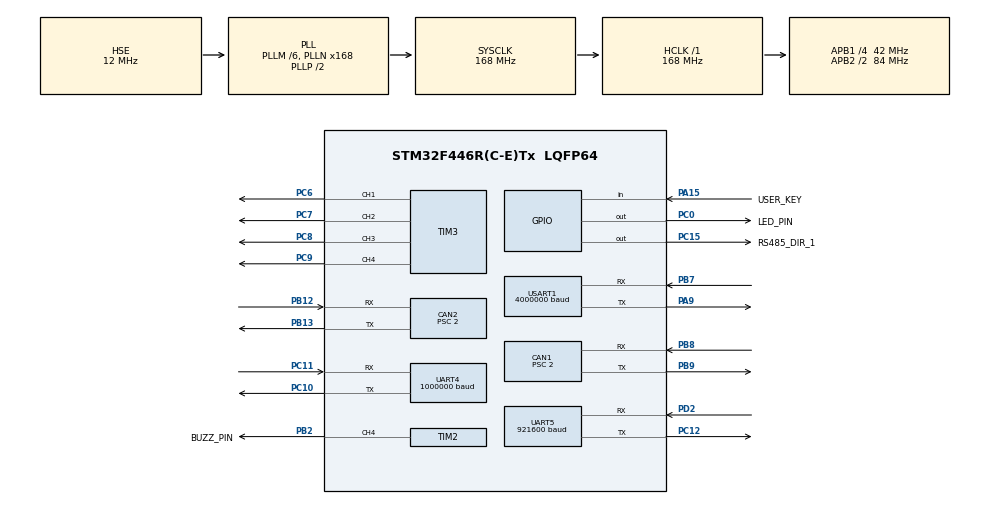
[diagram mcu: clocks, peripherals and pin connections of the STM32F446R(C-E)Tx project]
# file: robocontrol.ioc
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CAN1.BS1=CAN_BS1_15TQ
CAN1.BS2=CAN_BS2_5TQ
CAN1.CalculateBaudRate=1000000
CAN1.CalculateTimeBit=1000
CAN1.CalculateTimeQuantum=47.61904761904762
CAN1.Prescaler=2
CAN2.BS1=CAN_BS1_15TQ
CAN2.BS2=CAN_BS2_5TQ
CAN2.CalculateBaudRate=1000000
CAN2.CalculateTimeBit=1000
CAN2.CalculateTimeQuantum=47.61904761904762
CAN2.Prescaler=2
Dma.Request0=UART4_TX
Dma.Request1=UART5_RX
Dma.UART4_TX.0.Direction=DMA_MEMORY_TO_PERIPH
Dma.UART4_TX.0.FIFOMode=DMA_FIFOMODE_DISABLE
Dma.UART4_TX.0.Instance=DMA1_Stream4
Dma.UART4_TX.0.MemDataAlignment=DMA_MDATAALIGN_BYTE
Dma.UART4_TX.0.MemInc=DMA_MINC_ENABLE
Dma.UART4_TX.0.Mode=DMA_NORMAL
Dma.UART4_TX.0.PeriphDataAlignment=DMA_PDATAALIGN_BYTE
Dma.UART4_TX.0.PeriphInc=DMA_PINC_DISABLE
Dma.UART4_TX.0.Priority=DMA_PRIORITY_LOW
Dma.UART5_RX.1.Direction=DMA_PERIPH_TO_MEMORY
Dma.UART5_RX.1.FIFOMode=DMA_FIFOMODE_DISABLE
Dma.UART5_RX.1.Instance=DMA1_Stream0
Dma.UART5_RX.1.MemDataAlignment=DMA_MDATAALIGN_BYTE
Dma.UART5_RX.1.MemInc=DMA_MINC_ENABLE
Dma.UART5_RX.1.Mode=DMA_NORMAL
Dma.UART5_RX.1.PeriphDataAlignment=DMA_PDATAALIGN_BYTE
Dma.UART5_RX.1.PeriphInc=DMA_PINC_DISABLE
Dma.UART5_RX.1.Priority=DMA_PRIORITY_LOW
FREERTOS.Tasks01=defaultTask,24,128,StartDefaultTask,Default,NULL,Dynamic,NULL,NULL;canRxTask,40,1024,CAN_Rx_Task,As weak,NULL,Dynamic,NULL,NULL;robotTask,41,1024,robot_loop,As weak,NULL,Dynamic,NULL,NULL
FREERTOS.configENABLE_FPU=1
Mcu.Family=STM32F4
Mcu.Name=STM32F446R(C-E)Tx
Mcu.Package=LQFP64
NVIC.CAN1_RX0_IRQn=true\:5\:0\:false\:false\:true\:true\:true\:true\:true
NVIC.CAN2_RX0_IRQn=true\:5\:0\:false\:false\:true\:true\:true\:true\:true
NVIC.DMA1_Stream0_IRQn=true\:5\:0\:false\:false\:true\:true\:false\:true\:true
NVIC.DMA1_Stream4_IRQn=true\:5\:0\:false\:false\:true\:true\:false\:true\:true
NVIC.PriorityGroup=NVIC_PRIORITYGROUP_4
NVIC.TIM8_TRG_COM_TIM14_IRQn=true\:15\:0\:false\:false\:true\:false\:false\:true\:true
NVIC.TIM8_UP_TIM13_IRQn=true\:5\:0\:false\:false\:false\:true\:true\:true\:true
NVIC.TimeBase=TIM8_TRG_COM_TIM14_IRQn
NVIC.TimeBaseIP=TIM14
NVIC.UART4_IRQn=true\:5\:0\:false\:false\:true\:true\:true\:true\:true
NVIC.UART5_IRQn=true\:5\:0\:false\:false\:true\:true\:true\:true\:true
NVIC.USART1_IRQn=true\:5\:0\:false\:false\:true\:true\:true\:true\:true
PA13.Mode=Serial_Wire
PA13.Signal=SYS_JTMS-SWDIO
PA14.Mode=Serial_Wire
PA14.Signal=SYS_JTCK-SWCLK
PA15.GPIO_Label=USER_KEY
PA15.Signal=GPIO_Input
PA9.Mode=Asynchronous
PA9.Signal=USART1_TX
PB12.Mode=CAN_Activate
PB12.Signal=CAN2_RX
PB13.Mode=CAN_Activate
PB13.Signal=CAN2_TX
PB2.GPIO_Label=BUZZ_PIN
PB2.Signal=S_TIM2_CH4
PB7.Mode=Asynchronous
PB7.Signal=USART1_RX
PB8.Mode=CAN_Activate
PB8.Signal=CAN1_RX
PB9.Mode=CAN_Activate
PB9.Signal=CAN1_TX
PC0.GPIO_Label=LED_PIN
PC0.Signal=GPIO_Output
PC10.Mode=Asynchronous
PC10.Signal=UART4_TX
PC11.Mode=Asynchronous
PC11.Signal=UART4_RX
PC12.Mode=Asynchronous
PC12.Signal=UART5_TX
PC15-OSC32_OUT.GPIO_Label=RS485_DIR_1
PC15-OSC32_OUT.PinState=GPIO_PIN_SET
PC15-OSC32_OUT.Signal=GPIO_Output
PC6.Signal=S_TIM3_CH1
PC7.Signal=S_TIM3_CH2
PC8.Signal=S_TIM3_CH3
PC9.Signal=S_TIM3_CH4
PD2.Mode=Asynchronous
PD2.Signal=UART5_RX
PH0-OSC_IN.Mode=HSE-External-Oscillator
PH0-OSC_IN.Signal=RCC_OSC_IN
PH1-OSC_OUT.Mode=HSE-External-Oscillator
PH1-OSC_OUT.Signal=RCC_OSC_OUT
ProjectManager.HeapSize=0x400
ProjectManager.StackSize=0x800
ProjectManager.TargetToolchain=MDK-ARM V5.32
RCC.AHBFreq_Value=168000000
RCC.APB1CLKDivider=RCC_HCLK_DIV4
RCC.APB1Freq_Value=42000000
RCC.APB1TimFreq_Value=84000000
RCC.APB2CLKDivider=RCC_HCLK_DIV2
RCC.APB2Freq_Value=84000000
RCC.APB2TimFreq_Value=168000000
RCC.CortexFreq_Value=168000000
RCC.HCLKFreq_Value=168000000
RCC.HSE_VALUE=12000000
RCC.PLLM=6
RCC.PLLN=168
RCC.PLLQ=7
RCC.PLLSourceVirtual=RCC_PLLSOURCE_HSE
RCC.SYSCLKFreq_VALUE=168000000
RCC.SYSCLKSource=RCC_SYSCLKSOURCE_PLLCLK
RCC.USBFreq_Value=48000000
RCC.VCOOutputFreq_Value=336000000
SH.S_TIM2_CH4.0=TIM2_CH4,PWM Generation4 CH4
SH.S_TIM3_CH1.0=TIM3_CH1,PWM Generation1 CH1
SH.S_TIM3_CH2.0=TIM3_CH2,PWM Generation2 CH2
SH.S_TIM3_CH3.0=TIM3_CH3,PWM Generation3 CH3
SH.S_TIM3_CH4.0=TIM3_CH4,PWM Generation4 CH4
TIM13.AutoReloadPreload=TIM_AUTORELOAD_PRELOAD_ENABLE
TIM13.Prescaler=83
TIM2.Channel-PWM\ Generation4\ CH4=TIM_CHANNEL_4
TIM3.Channel-PWM\ Generation1\ CH1=TIM_CHANNEL_1
TIM3.Channel-PWM\ Generation2\ CH2=TIM_CHANNEL_2
TIM3.Channel-PWM\ Generation3\ CH3=TIM_CHANNEL_3
TIM3.Channel-PWM\ Generation4\ CH4=TIM_CHANNEL_4
UART4.BaudRate=1000000
UART4.VirtualMode=Asynchronous
UART5.BaudRate=921600
UART5.VirtualMode=Asynchronous
USART1.BaudRate=4000000
USART1.VirtualMode=VM_ASYNC
VP_FREERTOS_VS_CMSIS_V2.Mode=CMSIS_V2
VP_SYS_VS_tim14.Mode=TIM14
VP_TIM13_VS_ClockSourceINT.Mode=Enable_Timer
VP_TIM3_VS_ClockSourceINT.Mode=Internal
board=custom

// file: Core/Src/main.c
/* USER CODE BEGIN Header */
/**
  ******************************************************************************
  * @file           : main.c
  * @brief          : Main program body
  ******************************************************************************
  * @attention
  *
  * Copyright (c) 2025 STMicroelectronics.
  * All rights reserved.
  *
  * This software is licensed under terms that can be found in the LICENSE file
  * in the root directory of this software component.
  * If no LICENSE file comes with this software, it is provided AS-IS.
  *
  ******************************************************************************
  */
/* USER CODE END Header */
#include "main.h"
#include "cmsis_os.h"
#include "can.h"
#include "dma.h"
#include "tim.h"
#include "usart.h"
#include "gpio.h"

/* USER CODE BEGIN Includes */
#include "stdio.h"

#define LOG_TAG    "main"
#include "elog.h"
#include "app_init.h"
/* USER CODE END Includes */

/* USER CODE BEGIN PV */
extern UART_HandleTypeDef huart5;
extern UART_HandleTypeDef huart1;
extern UART_HandleTypeDef huart2;
extern UART_HandleTypeDef huart4;
extern TIM_HandleTypeDef htim2;
extern CAN_HandleTypeDef hcan1;
extern CAN_HandleTypeDef hcan2;
/* USER CODE END PV */

void SystemClock_Config(void);
void MX_FREERTOS_Init(void);
/* USER CODE BEGIN PFP */
#define FS_PORT 0
#define HS_PORT 1

/* USER CODE END PFP */

int main(void)
{

  /* MCU Configuration--------------------------------------------------------*/

  /* Reset of all peripherals, Initializes the Flash interface and the Systick. */
  HAL_Init();

  /* Configure the system clock */
  SystemClock_Config();

  /* Initialize all configured peripherals */
  MX_GPIO_Init();
  MX_DMA_Init();
  MX_CAN1_Init();
  MX_CAN2_Init();
  MX_TIM2_Init();
  MX_TIM3_Init();
  MX_UART4_Init();
  MX_USART1_UART_Init();
  MX_TIM13_Init();
  MX_UART5_Init();

  /* Init scheduler */
  osKernelInitialize();  /* Call init function for freertos objects (in cmsis_os2.c) */
  MX_FREERTOS_Init();

  /* Start scheduler */
  osKernelStart();

  /* We should never get here as control is now taken by the scheduler */

  /* Infinite loop */
  while (1)
  {

  }
}

void SystemClock_Config(void)
{
  RCC_OscInitTypeDef RCC_OscInitStruct = {0};
  RCC_ClkInitTypeDef RCC_ClkInitStruct = {0};

  /** Configure the main internal regulator output voltage
  */
  __HAL_RCC_PWR_CLK_ENABLE();
  __HAL_PWR_VOLTAGESCALING_CONFIG(PWR_REGULATOR_VOLTAGE_SCALE1);

  /** Initializes the RCC Oscillators according to the specified parameters
  * in the RCC_OscInitTypeDef structure.
  */
  RCC_OscInitStruct.OscillatorType = RCC_OSCILLATORTYPE_HSE;
  RCC_OscInitStruct.HSEState = RCC_HSE_ON;
  RCC_OscInitStruct.PLL.PLLState = RCC_PLL_ON;
  RCC_OscInitStruct.PLL.PLLSource = RCC_PLLSOURCE_HSE;
  RCC_OscInitStruct.PLL.PLLM = 6;
  RCC_OscInitStruct.PLL.PLLN = 168;
  RCC_OscInitStruct.PLL.PLLP = RCC_PLLP_DIV2;
  RCC_OscInitStruct.PLL.PLLQ = 7;
  RCC_OscInitStruct.PLL.PLLR = 2;
  if (HAL_RCC_OscConfig(&RCC_OscInitStruct) != HAL_OK)
  {
    Error_Handler();
  }

  /** Initializes the CPU, AHB and APB buses clocks
  */
  RCC_ClkInitStruct.ClockType = RCC_CLOCKTYPE_HCLK|RCC_CLOCKTYPE_SYSCLK
                              |RCC_CLOCKTYPE_PCLK1|RCC_CLOCKTYPE_PCLK2;
  RCC_ClkInitStruct.SYSCLKSource = RCC_SYSCLKSOURCE_PLLCLK;
  RCC_ClkInitStruct.AHBCLKDivider = RCC_SYSCLK_DIV1;
  RCC_ClkInitStruct.APB1CLKDivider = RCC_HCLK_DIV4;
  RCC_ClkInitStruct.APB2CLKDivider = RCC_HCLK_DIV2;

  if (HAL_RCC_ClockConfig(&RCC_ClkInitStruct, FLASH_LATENCY_5) != HAL_OK)
  {
    Error_Handler();
  }
}

/* USER CODE BEGIN 4 */
//1. redefination of printf

 #ifdef __GNUC__
     #define PUTCHAR_PROTOTYPE int _io_putchar(int ch)
 #else
     #define PUTCHAR_PROTOTYPE int fputc(int ch, FILE *f)
 #endif /* __GNUC__*/
extern uint8_t CDC_Transmit_FS(uint8_t* Buf, uint16_t Len);

#include <stdio.h>

#pragma import(__use_no_semihosting) //????? C ???????????

//??HAL????,?????????bug
//??????????,???????????????,??
int _ttywrch(int ch)
{
    ch=ch;
    return ch;
}

//??????????
struct __FILE
{
    int handle;
    /* Whatever you require here. If the only file you are using is */
    /* standard output using printf() for debugging, no file handling */
    /* is required. */
};

FILE __stdout;

//??_sys_exit()??????????
void _sys_exit(int x)
{
    x = x;
}

int fputc(int ch, FILE *f){
		//CDC_Transmit_FS((uint8_t *)&ch,1);
    return ch;
}

/* USER CODE END 4 */

void HAL_TIM_PeriodElapsedCallback(TIM_HandleTypeDef *htim)
{
  if (htim->Instance == TIM14)
  {
    HAL_IncTick();
  }
}

void Error_Handler(void)
{
  __disable_irq();
  while (1)
  {
  }
}

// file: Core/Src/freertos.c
/* USER CODE BEGIN Header */
/**
 ******************************************************************************
 * File Name          : freertos.c
 * Description        : Code for freertos applications
 ******************************************************************************
 * @attention
 *
 * Copyright (c) 2025 STMicroelectronics.
 * All rights reserved.
 *
 * This software is licensed under terms that can be found in the LICENSE file
 * in the root directory of this software component.
 * If no LICENSE file comes with this software, it is provided AS-IS.
 *
 ******************************************************************************
 */
/* USER CODE END Header */

#include "FreeRTOS.h"
#include "task.h"
#include "main.h"
#include "cmsis_os.h"

/* USER CODE BEGIN Includes */
#include "app_init.h"
#include "bsp_can.h"
#include "string.h"
/* USER CODE END Includes */

/* USER CODE BEGIN PM */
#define LOG_TAG "DEFAULT_TASK"
#include "elog.h"
/* USER CODE END PM */

/* Definitions for defaultTask */
osThreadId_t defaultTaskHandle;
const osThreadAttr_t defaultTask_attributes = {
  .name = "defaultTask",
  .stack_size = 128 * 4,
  .priority = (osPriority_t) osPriorityNormal,
};
/* Definitions for canRxTask */
osThreadId_t canRxTaskHandle;
const osThreadAttr_t canRxTask_attributes = {
  .name = "canRxTask",
  .stack_size = 1024 * 4,
  .priority = (osPriority_t) osPriorityHigh,
};
/* Definitions for robotTask */
osThreadId_t robotTaskHandle;
const osThreadAttr_t robotTask_attributes = {
  .name = "robotTask",
  .stack_size = 1024 * 4,
  .priority = (osPriority_t) osPriorityHigh1,
};

void StartDefaultTask(void *argument);
void CAN_Rx_Task(void *argument);
void robot_loop(void *argument);

void MX_FREERTOS_Init(void); /* (MISRA C 2004 rule 8.1) */

void MX_FREERTOS_Init(void) {

  /* Create the thread(s) */
  /* creation of defaultTask */
  defaultTaskHandle = osThreadNew(StartDefaultTask, NULL, &defaultTask_attributes);

  /* creation of canRxTask */
  canRxTaskHandle = osThreadNew(CAN_Rx_Task, NULL, &canRxTask_attributes);

  /* creation of robotTask */
  robotTaskHandle = osThreadNew(robot_loop, NULL, &robotTask_attributes);

}

void StartDefaultTask(void *argument)
{
  /* USER CODE BEGIN StartDefaultTask */
  /* Infinite loop */
  HAL_Delay(2000);

  while (app_init())
  {
    log_e("Error While app init!");
  }

  for (;;)
  {

    HAL_GPIO_TogglePin(LED_PIN_GPIO_Port, LED_PIN_Pin);
    osDelay(1000);
  }
  /* USER CODE END StartDefaultTask */
}

__weak void CAN_Rx_Task(void *argument)
{
  for (;;)
  {
    osDelay(1);
  }
}

__weak void robot_loop(void *argument)
{
  for (;;)
  {
    osDelay(1);
  }
}
